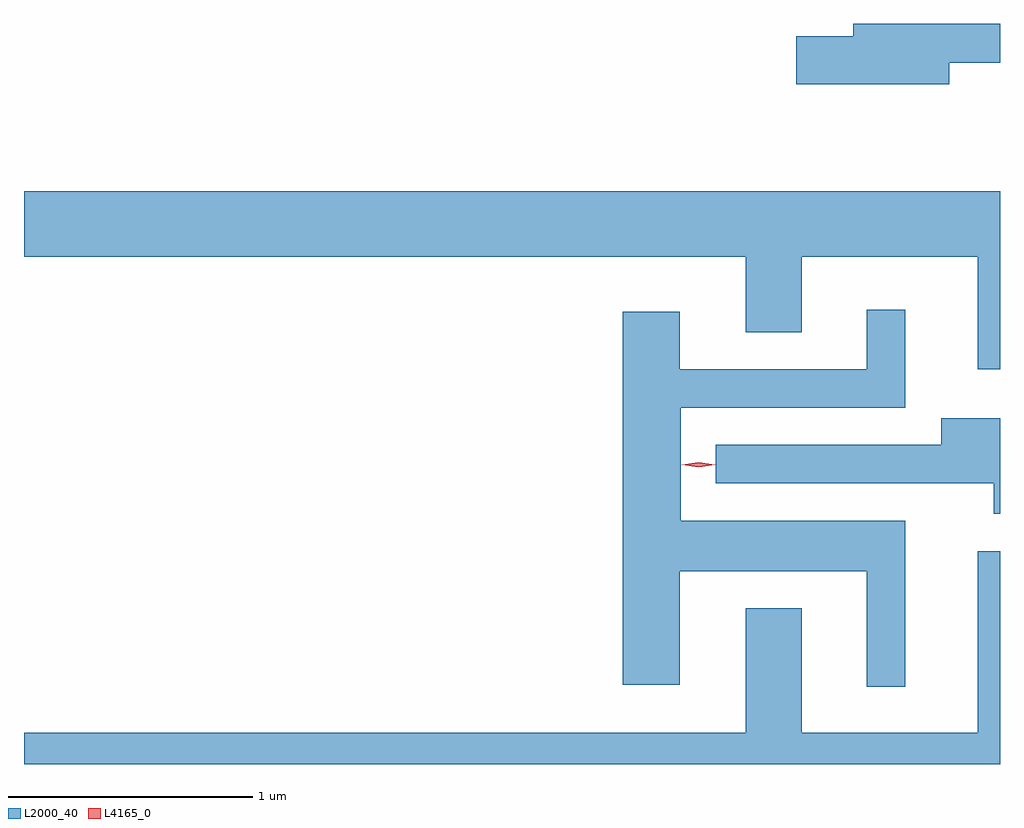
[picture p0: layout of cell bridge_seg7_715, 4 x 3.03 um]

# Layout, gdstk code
import gdstk
lib = gdstk.Library(unit=1e-6, precision=1e-09)
def P(c, l, *ps):  # polygons
    for p in ps: c.add(gdstk.Polygon(p, *l))
L2000_40 = (2000, 40)
L4165_0 = (4165, 0)

bridge_seg7_715 = lib.new_cell('bridge_seg7_715')
P(bridge_seg7_715, L2000_40, [(554.074,1806.131),(554.282,1806.131),(554.282,1806.289),(553.681,1806.289),(553.681,1806.239),(553.446,1806.239),(553.446,1806.041),(554.074,1806.041)],
  [(554.282,1805.604),(550.282,1805.604),(550.282,1805.336),(553.241,1805.336),(553.241,1805.026),(553.469,1805.026),(553.469,1805.336),(554.191,1805.336),(554.191,1804.873),(554.282,1804.873)],
  [(553.894,1804.254),(552.974,1804.254),(552.974,1804.716),(553.894,1804.716),(553.894,1805.118),(553.736,1805.118),(553.736,1804.874),(552.969,1804.874),(552.969,1805.109),(552.736,1805.109),(552.736,1803.581),(552.969,1803.581),(552.969,1804.046),(553.736,1804.046),(553.736,1803.573),(553.894,1803.573)],
  [(554.282,1804.674),(554.041,1804.674),(554.041,1804.564),(553.118,1804.564),(553.118,1804.406),(554.256,1804.406),(554.256,1804.281),(554.282,1804.281)],
  [(554.282,1804.128),(554.191,1804.128),(554.191,1803.384),(553.469,1803.384),(553.469,1803.894),(553.241,1803.894),(553.241,1803.384),(550.282,1803.384),(550.282,1803.256),(554.282,1803.256)])
P(bridge_seg7_715, L4165_0, [(553.047,1804.473),(552.981,1804.482),(552.98,1804.483),(552.981,1804.483),(553.047,1804.493),(553.112,1804.483),(553.113,1804.483),(553.112,1804.482)],
  [(553.047,1804.473),(552.978,1804.482),(552.977,1804.483),(552.978,1804.483),(553.047,1804.493),(553.116,1804.483),(553.116,1804.483),(553.116,1804.482)])

lib.write_gds('bridge_seg7_715.gds')
